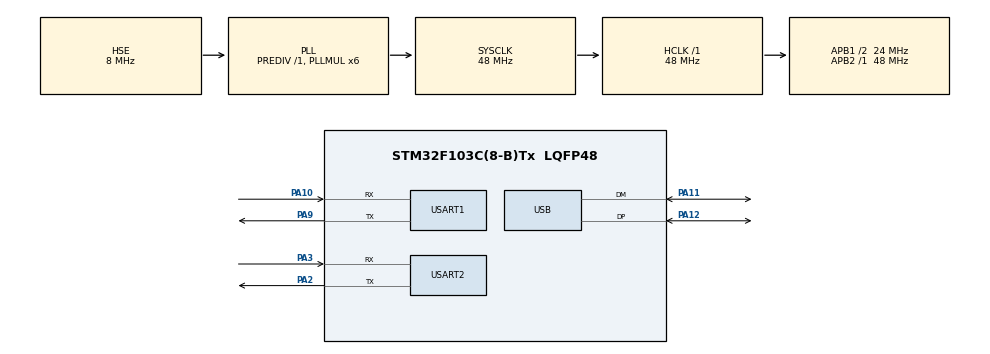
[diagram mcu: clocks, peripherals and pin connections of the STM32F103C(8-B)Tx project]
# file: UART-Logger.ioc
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Mcu.Family=STM32F1
Mcu.Name=STM32F103C(8-B)Tx
Mcu.Package=LQFP48
NVIC.PriorityGroup=NVIC_PRIORITYGROUP_4
NVIC.TIM2_IRQn=true\:0\:0\:false\:false\:true\:true\:true\:true
NVIC.TIM3_IRQn=true\:0\:0\:false\:false\:true\:true\:true\:true
NVIC.TIM4_IRQn=true\:0\:0\:false\:false\:true\:true\:true\:true
NVIC.USART1_IRQn=true\:0\:0\:false\:false\:true\:true\:true\:true
NVIC.USART2_IRQn=true\:1\:0\:true\:false\:true\:true\:true\:true
NVIC.USB_LP_CAN1_RX0_IRQn=true\:0\:0\:false\:false\:true\:false\:true\:true
PA10.Mode=Asynchronous
PA10.Signal=USART1_RX
PA11.Mode=Device
PA11.Signal=USB_DM
PA12.Mode=Device
PA12.Signal=USB_DP
PA2.Mode=Asynchronous
PA2.Signal=USART2_TX
PA3.Mode=Asynchronous
PA3.Signal=USART2_RX
PA9.Mode=Asynchronous
PA9.Signal=USART1_TX
PD0-OSC_IN.Mode=HSE-External-Oscillator
PD0-OSC_IN.Signal=RCC_OSC_IN
PD1-OSC_OUT.Mode=HSE-External-Oscillator
PD1-OSC_OUT.Signal=RCC_OSC_OUT
ProjectManager.HeapSize=0x200
ProjectManager.StackSize=0x400
ProjectManager.TargetToolchain=MDK-ARM V5.32
RCC.AHBFreq_Value=48000000
RCC.APB1CLKDivider=RCC_HCLK_DIV2
RCC.APB1Freq_Value=24000000
RCC.APB1TimFreq_Value=48000000
RCC.APB2Freq_Value=48000000
RCC.APB2TimFreq_Value=48000000
RCC.HCLKFreq_Value=48000000
RCC.PLLMUL=RCC_PLL_MUL6
RCC.PLLSourceVirtual=RCC_PLLSOURCE_HSE
RCC.SYSCLKFreq_VALUE=48000000
RCC.SYSCLKSource=RCC_SYSCLKSOURCE_PLLCLK
RCC.USBFreq_Value=48000000
TIM2.Period=47
TIM2.Prescaler=999
TIM3.Period=143
TIM3.Prescaler=999
USART1.VirtualMode=VM_ASYNC
USART2.VirtualMode=VM_ASYNC
USB_DEVICE.CLASS_NAME_FS=CDC
USB_DEVICE.PRODUCT_STRING_CDC_FS=UART Logger Device
USB_DEVICE.VirtualMode=Cdc
USB_DEVICE.VirtualModeFS=Cdc_FS
VP_SYS_VS_ND.Mode=No_Debug
VP_TIM2_VS_ClockSourceINT.Mode=Internal
VP_TIM3_VS_ClockSourceINT.Mode=Internal
VP_TIM4_VS_ClockSourceINT.Mode=Internal
VP_USB_DEVICE_VS_USB_DEVICE_CDC_FS.Mode=CDC_FS
board=custom

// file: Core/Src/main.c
/* USER CODE BEGIN Header */
/**
  ******************************************************************************
  * @file           : main.c
  * @brief          : Main program body
  ******************************************************************************
  * @attention
  *
  * Copyright (c) 2024 STMicroelectronics.
  * All rights reserved.
  *
  * This software is licensed under terms that can be found in the LICENSE file
  * in the root directory of this software component.
  * If no LICENSE file comes with this software, it is provided AS-IS.
  *
  ******************************************************************************
  */
/* USER CODE END Header */
#include "main.h"
#include "usb_device.h"

/* USER CODE BEGIN Includes */

#include "usbd_cdc_if.h"

#include "port.h"

/* USER CODE END Includes */

/* USER CODE BEGIN PD */

#define TIME_MAX_DISPLAY	999999999U	// Max value to print in terminal

#define PORTS_CNT			2

/* USER CODE END PD */

TIM_HandleTypeDef htim2;
TIM_HandleTypeDef htim3;
TIM_HandleTypeDef htim4;

UART_HandleTypeDef huart1;
UART_HandleTypeDef huart2;

/* USER CODE BEGIN PV */

LogPort		logPorts[PORTS_CNT];

uint32_t	currentTimeMs			= 0;

/* USER CODE END PV */

void SystemClock_Config(void);
static void MX_GPIO_Init(void);
static void MX_TIM2_Init(void);
static void MX_USART1_UART_Init(void);
static void MX_USART2_UART_Init(void);
static void MX_TIM3_Init(void);
static void MX_TIM4_Init(void);

/* USER CODE BEGIN 0 */

/**
 * Timer callback.
 */
void HAL_TIM_PeriodElapsedCallback(TIM_HandleTypeDef* htim) {

	if (htim->Instance == TIM2) {

		if (currentTimeMs >= TIME_MAX_DISPLAY)	currentTimeMs = 0;
		else									currentTimeMs++;
	}

	if (htim->Instance == TIM3) {
		setFlag(&logPorts[0], 1);
		HAL_TIM_Base_Stop_IT(&htim3);
	}

	if (htim->Instance == TIM4) {
		setFlag(&logPorts[1], 1);
		HAL_TIM_Base_Stop_IT(&htim4);
	}
}

/**
 * UART receive callback.
 */
void HAL_UART_RxCpltCallback(UART_HandleTypeDef *huart) {

	if (huart == &huart1) {

		writeByte(&logPorts[0]);
		__HAL_TIM_CLEAR_FLAG(&htim3, TIM_SR_UIF);						// Clear interrapt flag to avoid calling of callback while timer starts
		HAL_TIM_Base_Start_IT(&htim3);									// Start timer to know when message is received
		HAL_UART_Receive_IT(&huart1, (uint8_t*) logPorts[0].buffer, 1);	// Start UART receive to accept next byte
	}

	if (huart == &huart2) {

		writeByte(&logPorts[1]);
		__HAL_TIM_CLEAR_FLAG(&htim4, TIM_SR_UIF);						// Clear interrapt flag to avoid calling of callback while timer starts
		HAL_TIM_Base_Start_IT(&htim4);									// Start timer to know when message is received
		HAL_UART_Receive_IT(&huart2, (uint8_t*) logPorts[1].buffer, 1);	// Start UART receive to accept next byte
	}
}

/* USER CODE END 0 */

int main(void)
{

  /* MCU Configuration--------------------------------------------------------*/

  /* Reset of all peripherals, Initializes the Flash interface and the Systick. */
  HAL_Init();

  /* Configure the system clock */
  SystemClock_Config();

  /* Initialize all configured peripherals */
  MX_GPIO_Init();
  MX_USB_DEVICE_Init();
  MX_TIM2_Init();
  MX_USART1_UART_Init();
  MX_USART2_UART_Init();
  MX_TIM3_Init();
  MX_TIM4_Init();
  /* USER CODE BEGIN 2 */

	for (uint8_t i = 0; i < PORTS_CNT; i++) {
		initLogPort(&logPorts[i]);
	}

	__HAL_TIM_CLEAR_FLAG(&htim2, TIM_SR_UIF);	// Clear interrapt flag to avoid calling of callback while timer starts
	HAL_TIM_Base_Start_IT(&htim2);				// For timer ms counter

	// Start receiving for both UARTs
	HAL_UART_Receive_IT(&huart1, (uint8_t*) logPorts[0].buffer, 1);
	HAL_UART_Receive_IT(&huart2, (uint8_t*) logPorts[1].buffer, 1);

  /* USER CODE END 2 */

  /* Infinite loop */
  /* USER CODE BEGIN WHILE */

	char buf[100];

  while (1)
  {
    /* USER CODE END WHILE */

    /* USER CODE BEGIN 3 */

		for (uint8_t i = 0; i < PORTS_CNT; i++) {

			if (logPorts[i].hasMessage) {

				uint32_t seconds = currentTimeMs / 1000;
				char* data = getData(&logPorts[i]);

				uint16_t length = sprintf(buf, "%d) %06d.%03d s %s\n\r", i + 1, seconds,
						currentTimeMs - seconds * 1000, data);
				CDC_Transmit_FS((uint8_t*) buf, length);

				free(data);
				initLogPort(&logPorts[i]);	// Re-init logPort when message has printed
			}

		}
	}

  /* USER CODE END 3 */
}

void SystemClock_Config(void)
{
  RCC_OscInitTypeDef RCC_OscInitStruct = {0};
  RCC_ClkInitTypeDef RCC_ClkInitStruct = {0};
  RCC_PeriphCLKInitTypeDef PeriphClkInit = {0};

  /** Initializes the RCC Oscillators according to the specified parameters
  * in the RCC_OscInitTypeDef structure.
  */
  RCC_OscInitStruct.OscillatorType = RCC_OSCILLATORTYPE_HSE;
  RCC_OscInitStruct.HSEState = RCC_HSE_ON;
  RCC_OscInitStruct.HSEPredivValue = RCC_HSE_PREDIV_DIV1;
  RCC_OscInitStruct.HSIState = RCC_HSI_ON;
  RCC_OscInitStruct.PLL.PLLState = RCC_PLL_ON;
  RCC_OscInitStruct.PLL.PLLSource = RCC_PLLSOURCE_HSE;
  RCC_OscInitStruct.PLL.PLLMUL = RCC_PLL_MUL6;
  if (HAL_RCC_OscConfig(&RCC_OscInitStruct) != HAL_OK)
  {
    Error_Handler();
  }

  /** Initializes the CPU, AHB and APB buses clocks
  */
  RCC_ClkInitStruct.ClockType = RCC_CLOCKTYPE_HCLK|RCC_CLOCKTYPE_SYSCLK
                              |RCC_CLOCKTYPE_PCLK1|RCC_CLOCKTYPE_PCLK2;
  RCC_ClkInitStruct.SYSCLKSource = RCC_SYSCLKSOURCE_PLLCLK;
  RCC_ClkInitStruct.AHBCLKDivider = RCC_SYSCLK_DIV1;
  RCC_ClkInitStruct.APB1CLKDivider = RCC_HCLK_DIV2;
  RCC_ClkInitStruct.APB2CLKDivider = RCC_HCLK_DIV1;

  if (HAL_RCC_ClockConfig(&RCC_ClkInitStruct, FLASH_LATENCY_1) != HAL_OK)
  {
    Error_Handler();
  }
  PeriphClkInit.PeriphClockSelection = RCC_PERIPHCLK_USB;
  PeriphClkInit.UsbClockSelection = RCC_USBCLKSOURCE_PLL;
  if (HAL_RCCEx_PeriphCLKConfig(&PeriphClkInit) != HAL_OK)
  {
    Error_Handler();
  }
}

static void MX_TIM2_Init(void)
{

  TIM_ClockConfigTypeDef sClockSourceConfig = {0};
  TIM_MasterConfigTypeDef sMasterConfig = {0};

  htim2.Instance = TIM2;
  htim2.Init.Prescaler = 999;
  htim2.Init.CounterMode = TIM_COUNTERMODE_UP;
  htim2.Init.Period = 47;
  htim2.Init.ClockDivision = TIM_CLOCKDIVISION_DIV1;
  htim2.Init.AutoReloadPreload = TIM_AUTORELOAD_PRELOAD_DISABLE;
  if (HAL_TIM_Base_Init(&htim2) != HAL_OK)
  {
    Error_Handler();
  }
  sClockSourceConfig.ClockSource = TIM_CLOCKSOURCE_INTERNAL;
  if (HAL_TIM_ConfigClockSource(&htim2, &sClockSourceConfig) != HAL_OK)
  {
    Error_Handler();
  }
  sMasterConfig.MasterOutputTrigger = TIM_TRGO_RESET;
  sMasterConfig.MasterSlaveMode = TIM_MASTERSLAVEMODE_DISABLE;
  if (HAL_TIMEx_MasterConfigSynchronization(&htim2, &sMasterConfig) != HAL_OK)
  {
    Error_Handler();
  }

}

static void MX_TIM3_Init(void)
{

  TIM_ClockConfigTypeDef sClockSourceConfig = {0};
  TIM_MasterConfigTypeDef sMasterConfig = {0};

  htim3.Instance = TIM3;
  htim3.Init.Prescaler = 999;
  htim3.Init.CounterMode = TIM_COUNTERMODE_UP;
  htim3.Init.Period = 143;
  htim3.Init.ClockDivision = TIM_CLOCKDIVISION_DIV1;
  htim3.Init.AutoReloadPreload = TIM_AUTORELOAD_PRELOAD_DISABLE;
  if (HAL_TIM_Base_Init(&htim3) != HAL_OK)
  {
    Error_Handler();
  }
  sClockSourceConfig.ClockSource = TIM_CLOCKSOURCE_INTERNAL;
  if (HAL_TIM_ConfigClockSource(&htim3, &sClockSourceConfig) != HAL_OK)
  {
    Error_Handler();
  }
  sMasterConfig.MasterOutputTrigger = TIM_TRGO_RESET;
  sMasterConfig.MasterSlaveMode = TIM_MASTERSLAVEMODE_DISABLE;
  if (HAL_TIMEx_MasterConfigSynchronization(&htim3, &sMasterConfig) != HAL_OK)
  {
    Error_Handler();
  }

}

static void MX_TIM4_Init(void)
{

  TIM_ClockConfigTypeDef sClockSourceConfig = {0};
  TIM_MasterConfigTypeDef sMasterConfig = {0};

  htim4.Instance = TIM4;
  htim4.Init.Prescaler = 0;
  htim4.Init.CounterMode = TIM_COUNTERMODE_UP;
  htim4.Init.Period = 65535;
  htim4.Init.ClockDivision = TIM_CLOCKDIVISION_DIV1;
  htim4.Init.AutoReloadPreload = TIM_AUTORELOAD_PRELOAD_DISABLE;
  if (HAL_TIM_Base_Init(&htim4) != HAL_OK)
  {
    Error_Handler();
  }
  sClockSourceConfig.ClockSource = TIM_CLOCKSOURCE_INTERNAL;
  if (HAL_TIM_ConfigClockSource(&htim4, &sClockSourceConfig) != HAL_OK)
  {
    Error_Handler();
  }
  sMasterConfig.MasterOutputTrigger = TIM_TRGO_RESET;
  sMasterConfig.MasterSlaveMode = TIM_MASTERSLAVEMODE_DISABLE;
  if (HAL_TIMEx_MasterConfigSynchronization(&htim4, &sMasterConfig) != HAL_OK)
  {
    Error_Handler();
  }

}

static void MX_USART1_UART_Init(void)
{

  huart1.Instance = USART1;
  huart1.Init.BaudRate = 115200;
  huart1.Init.WordLength = UART_WORDLENGTH_8B;
  huart1.Init.StopBits = UART_STOPBITS_1;
  huart1.Init.Parity = UART_PARITY_NONE;
  huart1.Init.Mode = UART_MODE_TX_RX;
  huart1.Init.HwFlowCtl = UART_HWCONTROL_NONE;
  huart1.Init.OverSampling = UART_OVERSAMPLING_16;
  if (HAL_UART_Init(&huart1) != HAL_OK)
  {
    Error_Handler();
  }

}

static void MX_USART2_UART_Init(void)
{

  huart2.Instance = USART2;
  huart2.Init.BaudRate = 115200;
  huart2.Init.WordLength = UART_WORDLENGTH_8B;
  huart2.Init.StopBits = UART_STOPBITS_1;
  huart2.Init.Parity = UART_PARITY_NONE;
  huart2.Init.Mode = UART_MODE_TX_RX;
  huart2.Init.HwFlowCtl = UART_HWCONTROL_NONE;
  huart2.Init.OverSampling = UART_OVERSAMPLING_16;
  if (HAL_UART_Init(&huart2) != HAL_OK)
  {
    Error_Handler();
  }

}

static void MX_GPIO_Init(void)
{

  /* GPIO Ports Clock Enable */
  __HAL_RCC_GPIOD_CLK_ENABLE();
  __HAL_RCC_GPIOA_CLK_ENABLE();

}

void Error_Handler(void)
{
  __disable_irq();
  while (1)
  {
  }
}
